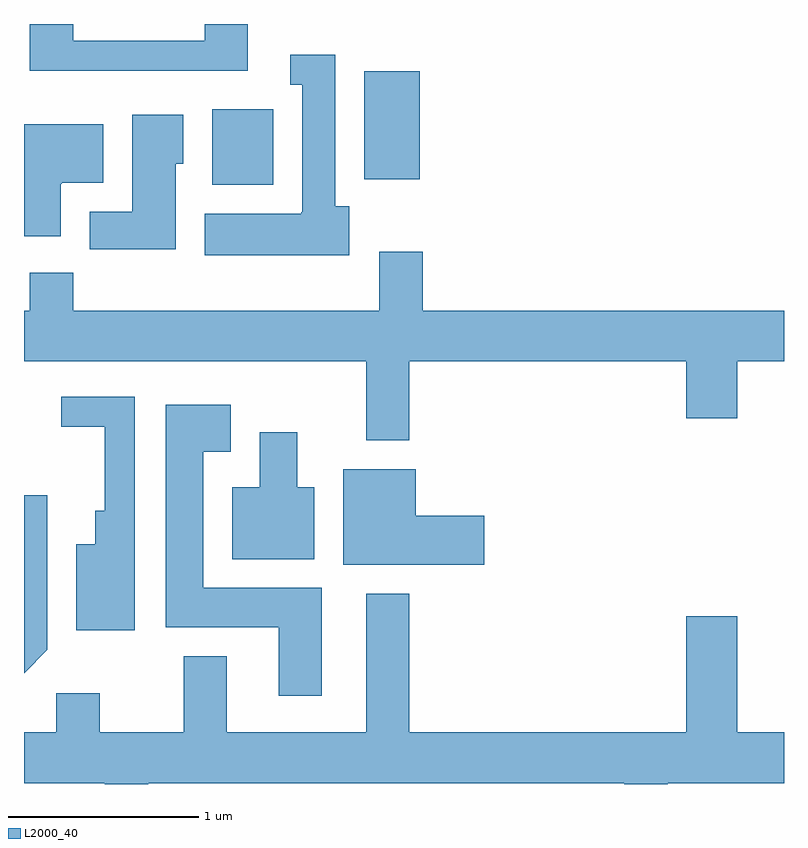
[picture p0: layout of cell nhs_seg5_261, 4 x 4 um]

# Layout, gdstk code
import gdstk
lib = gdstk.Library(unit=1e-6, precision=1e-09)
def R(c, l, rs):  # rectangles x0, y0, x1, y1
    for r in rs: c.add(gdstk.rectangle(r[:2], r[2:], *l))
def P(c, l, *ps):  # polygons
    for p in ps: c.add(gdstk.Polygon(p, *l))
L2000_40 = (2000, 40)

nhs_seg5_261 = lib.new_cell('nhs_seg5_261')
R(nhs_seg5_261, L2000_40, [(192.601,1513.226,192.924,1513.624), (193.401,1513.256,193.694,1513.824)])
P(nhs_seg5_261, L2000_40, [(192.789,1514.072),(192.561,1514.072),(192.561,1513.984),(191.869,1513.984),(191.869,1514.072),(191.641,1514.072),(191.641,1513.826),(192.789,1513.826)],
  [(193.324,1513.114),(193.249,1513.114),(193.249,1513.909),(193.013,1513.909),(193.013,1513.751),(193.076,1513.751),(193.076,1513.08),(193.07,1513.08),(193.07,1513.074),(192.561,1513.074),(192.561,1512.856),(193.324,1512.856)],
  [(192.409,1513.336),(192.449,1513.336),(192.449,1513.594),(192.181,1513.594),(192.181,1513.084),(191.956,1513.084),(191.956,1512.886),(192.409,1512.886)],
  [(191.804,1513.23),(191.81,1513.23),(191.81,1513.236),(192.029,1513.236),(192.029,1513.544),(191.611,1513.544),(191.611,1512.956),(191.804,1512.956)],
  [(193.639,1512.296),(195.096,1512.296),(195.096,1511.996),(195.364,1511.996),(195.364,1512.296),(195.611,1512.296),(195.611,1512.564),(193.709,1512.564),(193.709,1512.874),(193.481,1512.874),(193.481,1512.564),(191.869,1512.564),(191.869,1512.764),(191.641,1512.764),(191.641,1512.564),(191.611,1512.564),(191.611,1512.296),(193.411,1512.296),(193.411,1511.881),(193.639,1511.881)],
  [(192.194,1512.109),(191.808,1512.109),(191.808,1511.951),(192.036,1511.951),(192.036,1511.509),(191.986,1511.509),(191.986,1511.334),(191.886,1511.334),(191.886,1510.881),(192.194,1510.881)],
  [(193.179,1511.104),(192.554,1511.104),(192.554,1511.821),(192.699,1511.821),(192.699,1512.069),(192.356,1512.069),(192.356,1510.896),(192.951,1510.896),(192.951,1510.536),(193.179,1510.536)],
  [(193.139,1511.634),(193.049,1511.634),(193.049,1511.924),(192.851,1511.924),(192.851,1511.634),(192.706,1511.634),(192.706,1511.256),(193.139,1511.256)],
  [(194.034,1511.484),(193.674,1511.484),(193.674,1511.729),(193.291,1511.729),(193.291,1511.226),(194.034,1511.226)],
  [(191.734,1510.779),(191.734,1511.593),(191.611,1511.593),(191.611,1510.655)],
  [(192.264,1510.076),(194.771,1510.076),(194.771,1510.072),(194.999,1510.072),(194.999,1510.076),(195.611,1510.076),(195.611,1510.344),(195.364,1510.344),(195.364,1510.954),(195.096,1510.954),(195.096,1510.344),(193.639,1510.344),(193.639,1511.074),(193.411,1511.074),(193.411,1510.344),(192.679,1510.344),(192.679,1510.744),(192.451,1510.744),(192.451,1510.344),(192.009,1510.344),(192.009,1510.549),(191.781,1510.549),(191.781,1510.344),(191.611,1510.344),(191.611,1510.076),(192.036,1510.076),(192.036,1510.072),(192.264,1510.072)])

lib.write_gds('nhs_seg5_261.gds')
